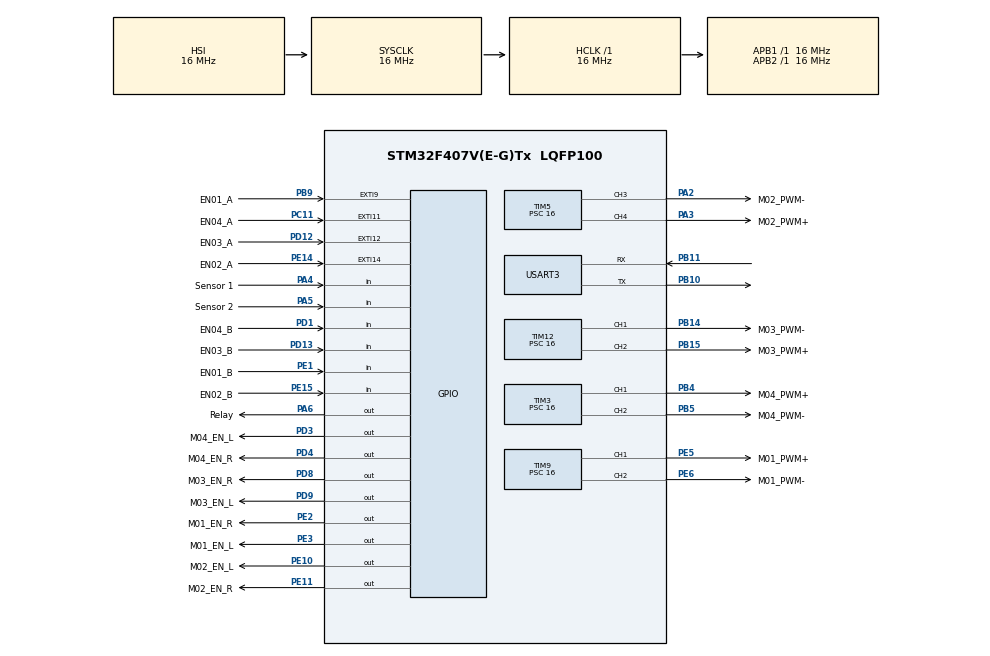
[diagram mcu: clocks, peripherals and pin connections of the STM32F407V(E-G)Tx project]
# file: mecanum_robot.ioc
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Dma.Request0=USART3_RX
Dma.USART3_RX.0.Direction=DMA_PERIPH_TO_MEMORY
Dma.USART3_RX.0.FIFOMode=DMA_FIFOMODE_DISABLE
Dma.USART3_RX.0.Instance=DMA1_Stream1
Dma.USART3_RX.0.MemDataAlignment=DMA_MDATAALIGN_BYTE
Dma.USART3_RX.0.MemInc=DMA_MINC_ENABLE
Dma.USART3_RX.0.Mode=DMA_NORMAL
Dma.USART3_RX.0.PeriphDataAlignment=DMA_PDATAALIGN_BYTE
Dma.USART3_RX.0.PeriphInc=DMA_PINC_DISABLE
Dma.USART3_RX.0.Priority=DMA_PRIORITY_LOW
Mcu.Family=STM32F4
Mcu.Name=STM32F407V(E-G)Tx
Mcu.Package=LQFP100
NVIC.DMA1_Stream1_IRQn=true\:0\:0\:false\:false\:true\:false\:true
NVIC.EXTI15_10_IRQn=true\:2\:0\:true\:false\:true\:true\:true
NVIC.EXTI9_5_IRQn=true\:2\:0\:true\:false\:true\:true\:true
NVIC.PriorityGroup=NVIC_PRIORITYGROUP_4
NVIC.TIM4_IRQn=true\:1\:0\:true\:false\:true\:true\:true
PA2.GPIO_Label=M02_PWM-
PA2.Signal=S_TIM5_CH3
PA3.GPIO_Label=M02_PWM+
PA3.Signal=S_TIM5_CH4
PA4.GPIO_Label=Sensor 1
PA4.Signal=GPIO_Input
PA5.GPIO_Label=Sensor 2
PA5.Signal=GPIO_Input
PA6.GPIO_Label=Relay
PA6.Signal=GPIO_Output
PB10.Mode=Asynchronous
PB10.Signal=USART3_TX
PB11.Mode=Asynchronous
PB11.Signal=USART3_RX
PB14.GPIO_Label=M03_PWM-
PB14.Signal=S_TIM12_CH1
PB15.GPIO_Label=M03_PWM+
PB15.Signal=S_TIM12_CH2
PB4.GPIO_Label=M04_PWM+
PB4.Signal=S_TIM3_CH1
PB5.GPIO_Label=M04_PWM-
PB5.Signal=S_TIM3_CH2
PB9.GPIO_Label=EN01_A
PB9.GPIO_ModeDefaultEXTI=GPIO_MODE_IT_FALLING
PB9.GPIO_PuPd=GPIO_PULLUP
PB9.Signal=GPXTI9
PC11.GPIO_Label=EN04_A
PC11.GPIO_ModeDefaultEXTI=GPIO_MODE_IT_FALLING
PC11.GPIO_PuPd=GPIO_PULLUP
PC11.Signal=GPXTI11
PD1.GPIO_Label=EN04_B
PD1.Signal=GPIO_Input
PD12.GPIO_Label=EN03_A
PD12.GPIO_ModeDefaultEXTI=GPIO_MODE_IT_FALLING
PD12.GPIO_PuPd=GPIO_PULLUP
PD12.Signal=GPXTI12
PD13.GPIO_Label=EN03_B
PD13.Signal=GPIO_Input
PD3.GPIO_Label=M04_EN_L
PD3.PinState=GPIO_PIN_SET
PD3.Signal=GPIO_Output
PD4.GPIO_Label=M04_EN_R
PD4.PinState=GPIO_PIN_SET
PD4.Signal=GPIO_Output
PD8.GPIO_Label=M03_EN_R
PD8.PinState=GPIO_PIN_SET
PD8.Signal=GPIO_Output
PD9.GPIO_Label=M03_EN_L
PD9.PinState=GPIO_PIN_SET
PD9.Signal=GPIO_Output
PE1.GPIO_Label=EN01_B
PE1.Signal=GPIO_Input
PE10.GPIO_Label=M02_EN_L
PE10.PinState=GPIO_PIN_SET
PE10.Signal=GPIO_Output
PE11.GPIO_Label=M02_EN_R
PE11.PinState=GPIO_PIN_SET
PE11.Signal=GPIO_Output
PE14.GPIO_Label=EN02_A
PE14.GPIO_ModeDefaultEXTI=GPIO_MODE_IT_FALLING
PE14.GPIO_PuPd=GPIO_PULLUP
PE14.Signal=GPXTI14
PE15.GPIO_Label=EN02_B
PE15.Signal=GPIO_Input
PE2.GPIO_Label=M01_EN_R
PE2.PinState=GPIO_PIN_SET
PE2.Signal=GPIO_Output
PE3.GPIO_Label=M01_EN_L
PE3.PinState=GPIO_PIN_SET
PE3.Signal=GPIO_Output
PE5.GPIO_Label=M01_PWM+
PE5.Signal=S_TIM9_CH1
PE6.GPIO_Label=M01_PWM-
PE6.Signal=S_TIM9_CH2
PH0-OSC_IN.Mode=HSE-External-Oscillator
PH0-OSC_IN.Signal=RCC_OSC_IN
PH1-OSC_OUT.Mode=HSE-External-Oscillator
PH1-OSC_OUT.Signal=RCC_OSC_OUT
ProjectManager.HeapSize=0x200
ProjectManager.StackSize=0x400
ProjectManager.TargetToolchain=MDK-ARM V5.27
RCC.AHBFreq_Value=16000000
RCC.APB1Freq_Value=16000000
RCC.APB2Freq_Value=16000000
RCC.CortexFreq_Value=16000000
RCC.HSE_VALUE=25000000
RCC.HSI_VALUE=16000000
RCC.LSE_VALUE=32768
RCC.SYSCLKFreq_VALUE=16000000
RCC.VCOOutputFreq_Value=192000000
SH.S_TIM12_CH1.0=TIM12_CH1,PWM Generation1 CH1
SH.S_TIM12_CH2.0=TIM12_CH2,PWM Generation2 CH2
SH.S_TIM3_CH1.0=TIM3_CH1,PWM Generation1 CH1
SH.S_TIM3_CH2.0=TIM3_CH2,PWM Generation2 CH2
SH.S_TIM5_CH3.0=TIM5_CH3,PWM Generation3 CH3
SH.S_TIM5_CH4.0=TIM5_CH4,PWM Generation4 CH4
SH.S_TIM9_CH1.0=TIM9_CH1,PWM Generation1 CH1
SH.S_TIM9_CH2.0=TIM9_CH2,PWM Generation2 CH2
TIM12.Channel-PWM\ Generation1\ CH1=TIM_CHANNEL_1
TIM12.Channel-PWM\ Generation2\ CH2=TIM_CHANNEL_2
TIM12.Period=999
TIM12.Prescaler=16
TIM3.Channel-PWM\ Generation1\ CH1=TIM_CHANNEL_1
TIM3.Channel-PWM\ Generation2\ CH2=TIM_CHANNEL_2
TIM3.Period=999
TIM3.Prescaler=16
TIM4.Period=99
TIM4.Prescaler=16000
TIM5.Channel-PWM\ Generation3\ CH3=TIM_CHANNEL_3
TIM5.Channel-PWM\ Generation4\ CH4=TIM_CHANNEL_4
TIM5.Period=999
TIM5.Prescaler=16
TIM9.Channel-PWM\ Generation1\ CH1=TIM_CHANNEL_1
TIM9.Channel-PWM\ Generation2\ CH2=TIM_CHANNEL_2
TIM9.Period=999
TIM9.Prescaler=16
USART3.VirtualMode=VM_ASYNC
VP_TIM12_VS_ClockSourceINT.Mode=Internal
VP_TIM3_VS_ClockSourceINT.Mode=Internal
VP_TIM4_VS_ClockSourceINT.Mode=Internal
VP_TIM5_VS_ClockSourceINT.Mode=Internal
VP_TIM9_VS_ClockSourceINT.Mode=Internal
board=custom

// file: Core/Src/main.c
/* USER CODE BEGIN Header */
/**
  ******************************************************************************
  * @file           : main.c
  * @brief          : Main program body
  ******************************************************************************
  * @attention
  *
  * <h2><center>&copy; Copyright (c) 2022 STMicroelectronics.
  * All rights reserved.</center></h2>
  *
  * This software component is licensed by ST under BSD 3-Clause license,
  * the "License"; You may not use this file except in compliance with the
  * License. You may obtain a copy of the License at:
  *                        opensource.org/licenses/BSD-3-Clause
  *
  ******************************************************************************
  */
/* USER CODE END Header */
#include "main.h"

/* USER CODE BEGIN Includes */
#include "stdio.h"
#include "stdlib.h"
#include "string.h"
#include "math.h"
/* USER CODE END Includes */

TIM_HandleTypeDef htim3;
TIM_HandleTypeDef htim4;
TIM_HandleTypeDef htim5;
TIM_HandleTypeDef htim9;
TIM_HandleTypeDef htim12;

UART_HandleTypeDef huart3;
DMA_HandleTypeDef hdma_usart3_rx;

/* USER CODE BEGIN PV */
uint8_t rx_data;
int rx_index = 0;
char rx_buffer[20];
char temp[20];
int check_var = 0;
//encoder variable
int pulse_counter1 = 0, pulse_counter2 = 0, pulse_counter3 = 0, pulse_counter4 = 0;

//velocity variable
float M_PI = 3.14;
float vx = 0, vy = 0, w_angle = 0;
float w_reference1_temp = 0, w_reference2_temp = 0, w_reference3_temp = 0, w_reference4_temp = 0; // v?n t?c b�nh xe (rad/s)
float w_reference1 = 0, w_reference2 = 0, w_reference3 = 0, w_reference4 = 0; // v?n t?c b�nh xe (rpm)
float w1 = 0, w2 = 0, w3 = 0, w4 = 0; // v?n t?c th?c t? c?a b�nh xe (rpm)
float e1 = 0, e2 = 0, e3 = 0, e4 = 0;
float pre_e1 = 0, pre_e2 = 0, pre_e3 = 0, pre_e4 = 0;
float const max_pwm = 1000;

//robot variable
float const r_wheel = 0.048;
float lx = 0.21919; // khoang cach tu tam banh xe den tam robot theo phuong x
float ly = 0.21647; // khoang cach tu banh xe den tam robot theo phuong y

//PID parameters
float kP = 1.2, kI = 0.08, kD = 0.002;
float pPart1 = 0, pPart2 = 0, pPart3 = 0, pPart4 = 0;
float iPart1 = 0, iPart2 = 0, iPart3 = 0, iPart4 = 0;
float dPart1 = 0, dPart2 = 0, dPart3 = 0, dPart4 = 0;
float PID_signal1 = 0, PID_signal2 = 0, PID_signal3 = 0, PID_signal4 = 0;
float signal_pos1 = 0, signal_neg1 = 0;
float signal_pos2 = 0, signal_neg2 = 0;
float signal_pos3 = 0, signal_neg3 = 0;
float signal_pos4 = 0, signal_neg4 = 0;

// Posion calcalate
float w1_rad = 0, w2_rad = 0, w3_rad = 0, w4_rad = 0;
float v_wheel1 = 0, v_wheel2 = 0, v_wheel3 = 0, v_wheel4 = 0;

// Sensor parameters
unsigned int flag = 0;
unsigned int Sensor1;
unsigned int Sensor2;

/* USER CODE END PV */

void SystemClock_Config(void);
static void MX_GPIO_Init(void);
static void MX_DMA_Init(void);
static void MX_TIM3_Init(void);
static void MX_TIM5_Init(void);
static void MX_TIM9_Init(void);
static void MX_TIM12_Init(void);
static void MX_USART3_UART_Init(void);
static void MX_TIM4_Init(void);

/* USER CODE BEGIN 0 */
void Init_Motor1()
{

	////Enable H-bridge
	HAL_GPIO_WritePin(GPIOE, GPIO_PIN_2, 1);			//bridge1 EN_R
	HAL_GPIO_WritePin(GPIOE, GPIO_PIN_3, 1);			//bridge1 EN_L
	////Start PWM
	//PWM Motor 1
	HAL_TIM_PWM_Start(&htim9, TIM_CHANNEL_1);			//Motor1 +
	HAL_TIM_PWM_Start(&htim9, TIM_CHANNEL_2);			//Motor1 -

	__HAL_TIM_SetCompare(&htim9, TIM_CHANNEL_1, 0);
	__HAL_TIM_SetCompare(&htim9, TIM_CHANNEL_2, 0);
}

void Init_Motor2()
{
	////Enable H-bridge
	HAL_GPIO_WritePin(GPIOE, GPIO_PIN_11, 1);			//bridge1 EN_R
	HAL_GPIO_WritePin(GPIOE, GPIO_PIN_10, 1);			//bridge1 EN_L
	////Start PWM
	//PWM Motor 2
	HAL_TIM_PWM_Start(&htim5, TIM_CHANNEL_3);			//Motor2 +
	HAL_TIM_PWM_Start(&htim5, TIM_CHANNEL_4);			//Motor2 -

	__HAL_TIM_SetCompare(&htim5,TIM_CHANNEL_3, 0);
	__HAL_TIM_SetCompare(&htim5,TIM_CHANNEL_4, 0);

}

void Init_Motor3()
{
	////Enable H-bridge
	HAL_GPIO_WritePin(GPIOD, GPIO_PIN_8, 1);			//bridge1 EN_R
	HAL_GPIO_WritePin(GPIOD, GPIO_PIN_9, 1);			//bridge1 EN_L
	////Start PWM
	//PWM Motor 3
	HAL_TIM_PWM_Start(&htim12, TIM_CHANNEL_1);		//Motor3 +
	HAL_TIM_PWM_Start(&htim12, TIM_CHANNEL_2);		//Motor3 -

	__HAL_TIM_SetCompare(&htim12,TIM_CHANNEL_1, 0);
	__HAL_TIM_SetCompare(&htim12,TIM_CHANNEL_2, 0);
}

void Init_Motor4()
{
	////Enable H-bridge
	HAL_GPIO_WritePin(GPIOB, GPIO_PIN_3, 1);			//bridge1 EN_R
	HAL_GPIO_WritePin(GPIOG, GPIO_PIN_15, 1);			//bridge1 EN_L
	////Start PWM
	//PWM Motor 4
	HAL_TIM_PWM_Start(&htim3, TIM_CHANNEL_1);			//Motor4 +
	HAL_TIM_PWM_Start(&htim3, TIM_CHANNEL_2);			//Motor4 -

	__HAL_TIM_SetCompare(&htim3,TIM_CHANNEL_1, 0);
	__HAL_TIM_SetCompare(&htim3,TIM_CHANNEL_2, 0);
}

void check_w_ref()
{
	sprintf(temp, "vx_ref = %.2f\n", vx);
	HAL_UART_Transmit(&huart3, (uint8_t *)temp, strlen(temp),10);
	HAL_Delay(100);
	sprintf(temp, "vy_ref = %.2f\n", vy);
	HAL_UART_Transmit(&huart3, (uint8_t *)temp, strlen(temp),10);
	HAL_Delay(100);
	sprintf(temp, "w_ref = %.2f\n", w_angle);
	HAL_UART_Transmit(&huart3, (uint8_t *)temp, strlen(temp),10);
	HAL_Delay(100);
	HAL_Delay(2000);

	// sprintf(temp, "w1_temp = %.2f, w1_ref = %.2f\n", w_reference1_temp ,w_reference1);
	// HAL_UART_Transmit_DMA(&huart3, (uint8_t *)temp, strlen(temp));
	// HAL_Delay(100);
	// sprintf(temp, "w2_temp = %.2f, w2_ref = %.2f\n", w_reference2_temp ,w_reference2);
	// HAL_UART_Transmit_DMA(&huart3, (uint8_t *)temp, strlen(temp));
	// HAL_Delay(100);
	// sprintf(temp, "w3_temp = %.2f, w3_ref = %.2f\n", w_reference3_temp ,w_reference3);
	// HAL_UART_Transmit_DMA(&huart3, (uint8_t *)temp, strlen(temp));
	// HAL_Delay(100);
	// sprintf(temp, "w4_temp = %.2f, w4_ref = %.2f\n", w_reference4_temp ,w_reference4);
	// HAL_UART_Transmit_DMA(&huart3, (uint8_t *)temp, strlen(temp));
	// HAL_Delay(100);
	// HAL_Delay(2000);
}

// void signal_feedback_PID_parameter()
// {
// 	sprintf(temp, "P%.2fp\n", kP);
// 	HAL_UART_Transmit(&huart3, (uint8_t *)temp, strlen(temp), 10);
// 	HAL_Delay(100);
// 	sprintf(temp, "I%.2fi\n", kI);
// 	HAL_UART_Transmit(&huart3, (uint8_t *)temp, strlen(temp), 10);
// 	HAL_Delay(100);
// 	sprintf(temp, "D%.2fd\n", kD);
// 	HAL_UART_Transmit(&huart3, (uint8_t *)temp, strlen(temp), 10);
// 	HAL_Delay(2000);
// }

// void signal_feedback_w_wheel()
// {
// 	sprintf(temp, "w1 = %.2f rpm r\n", w1);
// 	HAL_UART_Transmit_DMA(&huart3, (uint8_t *)temp, strlen(temp), 10);
// 	HAL_Delay(100);
// 	sprintf(temp, "w2 = %.2f rpm r\n", w2);
// 	HAL_UART_Transmit_DMA(&huart3, (uint8_t *)temp, strlen(temp), 10);
// 	HAL_Delay(100);
// 	sprintf(temp, "w3 = %.2f rpm r\n", w3);
// 	HAL_UART_Transmit_DMA(&huart3, (uint8_t *)temp, strlen(temp), 10);
// 	HAL_Delay(100);
// 	sprintf(temp, "w4 = %.2f rpm r\n", w4);
// 	HAL_UART_Transmit_DMA(&huart3, (uint8_t *)temp, strlen(temp), 10);
// 	HAL_Delay(2000);
// }

// void signal_feedback_error()
// {
// 	sprintf(temp, "e1 = %.2f rpm r\n", e1);
// 	HAL_UART_Transmit(&huart3, (uint8_t *)temp, strlen(temp), 10);
// 	HAL_Delay(100);
// 	sprintf(temp, "e2 = %.2f rpm r\n", e2);
// 	HAL_UART_Transmit(&huart3, (uint8_t *)temp, strlen(temp), 10);
// 	HAL_Delay(100);
// 	sprintf(temp, "e3 = %.2f rpm r\n", e3);
// 	HAL_UART_Transmit(&huart3, (uint8_t *)temp, strlen(temp), 10);
// 	HAL_Delay(100);
// 	sprintf(temp, "e4 = %.2f rpm r\n", e4);
// 	HAL_UART_Transmit(&huart3, (uint8_t *)temp, strlen(temp), 10);
// 	HAL_Delay(2000);
// }

// void position_feedback()
// {
// }

void sensorCheck()
{
		Sensor1 = HAL_GPIO_ReadPin(Sensor_1_GPIO_Port, Sensor1);
		Sensor2 = HAL_GPIO_ReadPin(Sensor_2_GPIO_Port, Sensor2);
    if ((Sensor1 == 1 && Sensor2 == 0))
    {
      flag =1;

    }
		else if((Sensor1 == 0 && Sensor2 == 1) ){

			flag = 0;

		}
    if (flag == 1)
    {
      HAL_GPIO_WritePin(Relay_GPIO_Port, Relay_Pin, 1);

    }
    else
    {

      HAL_GPIO_WritePin(Relay_GPIO_Port, Relay_Pin, 0);
    }
}

/* USER CODE END 0 */

int main(void)
{

  /* MCU Configuration--------------------------------------------------------*/

  /* Reset of all peripherals, Initializes the Flash interface and the Systick. */
  HAL_Init();

  /* Configure the system clock */
  SystemClock_Config();

  /* Initialize all configured peripherals */
  MX_GPIO_Init();
  MX_DMA_Init();
  MX_TIM3_Init();
  MX_TIM5_Init();
  MX_TIM9_Init();
  MX_TIM12_Init();
  MX_USART3_UART_Init();
  MX_TIM4_Init();
  /* USER CODE BEGIN 2 */
  HAL_TIM_Base_Start_IT(&htim4);
  ////Start UART Receive interupt
	HAL_UART_Receive_DMA(&huart3, &rx_data, 1);

  Init_Motor1();
  Init_Motor2();
  Init_Motor3();
  Init_Motor4();
  /* USER CODE END 2 */

  /* Infinite loop */
  /* USER CODE BEGIN WHILE */
	check_var = 0;
  while (1)
  {
    /* USER CODE END WHILE */

    /* USER CODE BEGIN 3 */
	sensorCheck();
  if(check_var == 0)
	  {
		  check_w_ref();
	  }
	//   if(check_var == 1)
	//   {
	// 	  signal_feedback_w_wheel();
	//   }
	//   if(check_var == 2)
	//   {
	// 	  signal_feedback_error();
	//   }
	//   if(check_var == 3)
	//   {
	// 	  signal_feedback_PID_parameter();
	//   }
	//   if(check_var == 4)
	//   {
	// 	  position_feedback();
	//   }
	}
  /* USER CODE END 3 */
}

void SystemClock_Config(void)
{
  RCC_OscInitTypeDef RCC_OscInitStruct = {0};
  RCC_ClkInitTypeDef RCC_ClkInitStruct = {0};

  /** Configure the main internal regulator output voltage
  */
  __HAL_RCC_PWR_CLK_ENABLE();
  __HAL_PWR_VOLTAGESCALING_CONFIG(PWR_REGULATOR_VOLTAGE_SCALE1);
  /** Initializes the RCC Oscillators according to the specified parameters
  * in the RCC_OscInitTypeDef structure.
  */
  RCC_OscInitStruct.OscillatorType = RCC_OSCILLATORTYPE_HSI;
  RCC_OscInitStruct.HSIState = RCC_HSI_ON;
  RCC_OscInitStruct.HSICalibrationValue = RCC_HSICALIBRATION_DEFAULT;
  RCC_OscInitStruct.PLL.PLLState = RCC_PLL_NONE;
  if (HAL_RCC_OscConfig(&RCC_OscInitStruct) != HAL_OK)
  {
    Error_Handler();
  }
  /** Initializes the CPU, AHB and APB buses clocks
  */
  RCC_ClkInitStruct.ClockType = RCC_CLOCKTYPE_HCLK|RCC_CLOCKTYPE_SYSCLK
                              |RCC_CLOCKTYPE_PCLK1|RCC_CLOCKTYPE_PCLK2;
  RCC_ClkInitStruct.SYSCLKSource = RCC_SYSCLKSOURCE_HSI;
  RCC_ClkInitStruct.AHBCLKDivider = RCC_SYSCLK_DIV1;
  RCC_ClkInitStruct.APB1CLKDivider = RCC_HCLK_DIV1;
  RCC_ClkInitStruct.APB2CLKDivider = RCC_HCLK_DIV1;

  if (HAL_RCC_ClockConfig(&RCC_ClkInitStruct, FLASH_LATENCY_0) != HAL_OK)
  {
    Error_Handler();
  }
}

static void MX_TIM3_Init(void)
{

  TIM_ClockConfigTypeDef sClockSourceConfig = {0};
  TIM_MasterConfigTypeDef sMasterConfig = {0};
  TIM_OC_InitTypeDef sConfigOC = {0};

  htim3.Instance = TIM3;
  htim3.Init.Prescaler = 16;
  htim3.Init.CounterMode = TIM_COUNTERMODE_UP;
  htim3.Init.Period = 999;
  htim3.Init.ClockDivision = TIM_CLOCKDIVISION_DIV1;
  htim3.Init.AutoReloadPreload = TIM_AUTORELOAD_PRELOAD_DISABLE;
  if (HAL_TIM_Base_Init(&htim3) != HAL_OK)
  {
    Error_Handler();
  }
  sClockSourceConfig.ClockSource = TIM_CLOCKSOURCE_INTERNAL;
  if (HAL_TIM_ConfigClockSource(&htim3, &sClockSourceConfig) != HAL_OK)
  {
    Error_Handler();
  }
  if (HAL_TIM_PWM_Init(&htim3) != HAL_OK)
  {
    Error_Handler();
  }
  sMasterConfig.MasterOutputTrigger = TIM_TRGO_RESET;
  sMasterConfig.MasterSlaveMode = TIM_MASTERSLAVEMODE_DISABLE;
  if (HAL_TIMEx_MasterConfigSynchronization(&htim3, &sMasterConfig) != HAL_OK)
  {
    Error_Handler();
  }
  sConfigOC.OCMode = TIM_OCMODE_PWM1;
  sConfigOC.Pulse = 0;
  sConfigOC.OCPolarity = TIM_OCPOLARITY_HIGH;
  sConfigOC.OCFastMode = TIM_OCFAST_DISABLE;
  if (HAL_TIM_PWM_ConfigChannel(&htim3, &sConfigOC, TIM_CHANNEL_1) != HAL_OK)
  {
    Error_Handler();
  }
  if (HAL_TIM_PWM_ConfigChannel(&htim3, &sConfigOC, TIM_CHANNEL_2) != HAL_OK)
  {
    Error_Handler();
  }
  HAL_TIM_MspPostInit(&htim3);

}

static void MX_TIM4_Init(void)
{

  TIM_ClockConfigTypeDef sClockSourceConfig = {0};
  TIM_MasterConfigTypeDef sMasterConfig = {0};

  htim4.Instance = TIM4;
  htim4.Init.Prescaler = 16000;
  htim4.Init.CounterMode = TIM_COUNTERMODE_UP;
  htim4.Init.Period = 99;
  htim4.Init.ClockDivision = TIM_CLOCKDIVISION_DIV1;
  htim4.Init.AutoReloadPreload = TIM_AUTORELOAD_PRELOAD_DISABLE;
  if (HAL_TIM_Base_Init(&htim4) != HAL_OK)
  {
    Error_Handler();
  }
  sClockSourceConfig.ClockSource = TIM_CLOCKSOURCE_INTERNAL;
  if (HAL_TIM_ConfigClockSource(&htim4, &sClockSourceConfig) != HAL_OK)
  {
    Error_Handler();
  }
  sMasterConfig.MasterOutputTrigger = TIM_TRGO_RESET;
  sMasterConfig.MasterSlaveMode = TIM_MASTERSLAVEMODE_DISABLE;
  if (HAL_TIMEx_MasterConfigSynchronization(&htim4, &sMasterConfig) != HAL_OK)
  {
    Error_Handler();
  }

}

static void MX_TIM5_Init(void)
{

  TIM_ClockConfigTypeDef sClockSourceConfig = {0};
  TIM_MasterConfigTypeDef sMasterConfig = {0};
  TIM_OC_InitTypeDef sConfigOC = {0};

  htim5.Instance = TIM5;
  htim5.Init.Prescaler = 16;
  htim5.Init.CounterMode = TIM_COUNTERMODE_UP;
  htim5.Init.Period = 999;
  htim5.Init.ClockDivision = TIM_CLOCKDIVISION_DIV1;
  htim5.Init.AutoReloadPreload = TIM_AUTORELOAD_PRELOAD_DISABLE;
  if (HAL_TIM_Base_Init(&htim5) != HAL_OK)
  {
    Error_Handler();
  }
  sClockSourceConfig.ClockSource = TIM_CLOCKSOURCE_INTERNAL;
  if (HAL_TIM_ConfigClockSource(&htim5, &sClockSourceConfig) != HAL_OK)
  {
    Error_Handler();
  }
  if (HAL_TIM_PWM_Init(&htim5) != HAL_OK)
  {
    Error_Handler();
  }
  sMasterConfig.MasterOutputTrigger = TIM_TRGO_RESET;
  sMasterConfig.MasterSlaveMode = TIM_MASTERSLAVEMODE_DISABLE;
  if (HAL_TIMEx_MasterConfigSynchronization(&htim5, &sMasterConfig) != HAL_OK)
  {
    Error_Handler();
  }
  sConfigOC.OCMode = TIM_OCMODE_PWM1;
  sConfigOC.Pulse = 0;
  sConfigOC.OCPolarity = TIM_OCPOLARITY_HIGH;
  sConfigOC.OCFastMode = TIM_OCFAST_DISABLE;
  if (HAL_TIM_PWM_ConfigChannel(&htim5, &sConfigOC, TIM_CHANNEL_3) != HAL_OK)
  {
    Error_Handler();
  }
  if (HAL_TIM_PWM_ConfigChannel(&htim5, &sConfigOC, TIM_CHANNEL_4) != HAL_OK)
  {
    Error_Handler();
  }
  HAL_TIM_MspPostInit(&htim5);

}

static void MX_TIM9_Init(void)
{

  TIM_ClockConfigTypeDef sClockSourceConfig = {0};
  TIM_OC_InitTypeDef sConfigOC = {0};

  htim9.Instance = TIM9;
  htim9.Init.Prescaler = 16;
  htim9.Init.CounterMode = TIM_COUNTERMODE_UP;
  htim9.Init.Period = 999;
  htim9.Init.ClockDivision = TIM_CLOCKDIVISION_DIV1;
  htim9.Init.AutoReloadPreload = TIM_AUTORELOAD_PRELOAD_DISABLE;
  if (HAL_TIM_Base_Init(&htim9) != HAL_OK)
  {
    Error_Handler();
  }
  sClockSourceConfig.ClockSource = TIM_CLOCKSOURCE_INTERNAL;
  if (HAL_TIM_ConfigClockSource(&htim9, &sClockSourceConfig) != HAL_OK)
  {
    Error_Handler();
  }
  if (HAL_TIM_PWM_Init(&htim9) != HAL_OK)
  {
    Error_Handler();
  }
  sConfigOC.OCMode = TIM_OCMODE_PWM1;
  sConfigOC.Pulse = 0;
  sConfigOC.OCPolarity = TIM_OCPOLARITY_HIGH;
  sConfigOC.OCFastMode = TIM_OCFAST_DISABLE;
  if (HAL_TIM_PWM_ConfigChannel(&htim9, &sConfigOC, TIM_CHANNEL_1) != HAL_OK)
  {
    Error_Handler();
  }
  if (HAL_TIM_PWM_ConfigChannel(&htim9, &sConfigOC, TIM_CHANNEL_2) != HAL_OK)
  {
    Error_Handler();
  }
  HAL_TIM_MspPostInit(&htim9);

}

static void MX_TIM12_Init(void)
{

  TIM_ClockConfigTypeDef sClockSourceConfig = {0};
  TIM_OC_InitTypeDef sConfigOC = {0};

  htim12.Instance = TIM12;
  htim12.Init.Prescaler = 16;
  htim12.Init.CounterMode = TIM_COUNTERMODE_UP;
  htim12.Init.Period = 999;
  htim12.Init.ClockDivision = TIM_CLOCKDIVISION_DIV1;
  htim12.Init.AutoReloadPreload = TIM_AUTORELOAD_PRELOAD_DISABLE;
  if (HAL_TIM_Base_Init(&htim12) != HAL_OK)
  {
    Error_Handler();
  }
  sClockSourceConfig.ClockSource = TIM_CLOCKSOURCE_INTERNAL;
  if (HAL_TIM_ConfigClockSource(&htim12, &sClockSourceConfig) != HAL_OK)
  {
    Error_Handler();
  }
  if (HAL_TIM_PWM_Init(&htim12) != HAL_OK)
  {
    Error_Handler();
  }
  sConfigOC.OCMode = TIM_OCMODE_PWM1;
  sConfigOC.Pulse = 0;
  sConfigOC.OCPolarity = TIM_OCPOLARITY_HIGH;
  sConfigOC.OCFastMode = TIM_OCFAST_DISABLE;
  if (HAL_TIM_PWM_ConfigChannel(&htim12, &sConfigOC, TIM_CHANNEL_1) != HAL_OK)
  {
    Error_Handler();
  }
  if (HAL_TIM_PWM_ConfigChannel(&htim12, &sConfigOC, TIM_CHANNEL_2) != HAL_OK)
  {
    Error_Handler();
  }
  HAL_TIM_MspPostInit(&htim12);

}

static void MX_USART3_UART_Init(void)
{

  huart3.Instance = USART3;
  huart3.Init.BaudRate = 115200;
  huart3.Init.WordLength = UART_WORDLENGTH_8B;
  huart3.Init.StopBits = UART_STOPBITS_1;
  huart3.Init.Parity = UART_PARITY_NONE;
  huart3.Init.Mode = UART_MODE_TX_RX;
  huart3.Init.HwFlowCtl = UART_HWCONTROL_NONE;
  huart3.Init.OverSampling = UART_OVERSAMPLING_16;
  if (HAL_UART_Init(&huart3) != HAL_OK)
  {
    Error_Handler();
  }

}

static void MX_DMA_Init(void)
{

  /* DMA controller clock enable */
  __HAL_RCC_DMA1_CLK_ENABLE();

  /* DMA interrupt init */
  /* DMA1_Stream1_IRQn interrupt configuration */
  HAL_NVIC_SetPriority(DMA1_Stream1_IRQn, 0, 0);
  HAL_NVIC_EnableIRQ(DMA1_Stream1_IRQn);

}

static void MX_GPIO_Init(void)
{
  GPIO_InitTypeDef GPIO_InitStruct = {0};

  /* GPIO Ports Clock Enable */
  __HAL_RCC_GPIOE_CLK_ENABLE();
  __HAL_RCC_GPIOH_CLK_ENABLE();
  __HAL_RCC_GPIOA_CLK_ENABLE();
  __HAL_RCC_GPIOB_CLK_ENABLE();
  __HAL_RCC_GPIOD_CLK_ENABLE();
  __HAL_RCC_GPIOC_CLK_ENABLE();

  /*Configure GPIO pin Output Level */
  HAL_GPIO_WritePin(GPIOE, M01_EN_R_Pin|M01_EN_L_Pin|M02_EN_L_Pin|M02_EN_R_Pin, GPIO_PIN_SET);

  /*Configure GPIO pin Output Level */
  HAL_GPIO_WritePin(Relay_GPIO_Port, Relay_Pin, GPIO_PIN_RESET);

  /*Configure GPIO pin Output Level */
  HAL_GPIO_WritePin(GPIOD, M03_EN_R_Pin|M03_EN_L_Pin|M04_EN_L_Pin|M04_EN_R_Pin, GPIO_PIN_SET);

  /*Configure GPIO pins : M01_EN_R_Pin M01_EN_L_Pin M02_EN_L_Pin M02_EN_R_Pin */
  GPIO_InitStruct.Pin = M01_EN_R_Pin|M01_EN_L_Pin|M02_EN_L_Pin|M02_EN_R_Pin;
  GPIO_InitStruct.Mode = GPIO_MODE_OUTPUT_PP;
  GPIO_InitStruct.Pull = GPIO_NOPULL;
  GPIO_InitStruct.Speed = GPIO_SPEED_FREQ_LOW;
  HAL_GPIO_Init(GPIOE, &GPIO_InitStruct);

  /*Configure GPIO pins : Sensor_1_Pin Sensor_2_Pin */
  GPIO_InitStruct.Pin = Sensor_1_Pin|Sensor_2_Pin;
  GPIO_InitStruct.Mode = GPIO_MODE_INPUT;
  GPIO_InitStruct.Pull = GPIO_NOPULL;
  HAL_GPIO_Init(GPIOA, &GPIO_InitStruct);

  /*Configure GPIO pin : Relay_Pin */
  GPIO_InitStruct.Pin = Relay_Pin;
  GPIO_InitStruct.Mode = GPIO_MODE_OUTPUT_PP;
  GPIO_InitStruct.Pull = GPIO_NOPULL;
  GPIO_InitStruct.Speed = GPIO_SPEED_FREQ_LOW;
  HAL_GPIO_Init(Relay_GPIO_Port, &GPIO_InitStruct);

  /*Configure GPIO pin : EN02_A_Pin */
  GPIO_InitStruct.Pin = EN02_A_Pin;
  GPIO_InitStruct.Mode = GPIO_MODE_IT_FALLING;
  GPIO_InitStruct.Pull = GPIO_PULLUP;
  HAL_GPIO_Init(EN02_A_GPIO_Port, &GPIO_InitStruct);

  /*Configure GPIO pins : EN02_B_Pin EN01_B_Pin */
  GPIO_InitStruct.Pin = EN02_B_Pin|EN01_B_Pin;
  GPIO_InitStruct.Mode = GPIO_MODE_INPUT;
  GPIO_InitStruct.Pull = GPIO_NOPULL;
  HAL_GPIO_Init(GPIOE, &GPIO_InitStruct);

  /*Configure GPIO pins : M03_EN_R_Pin M03_EN_L_Pin M04_EN_L_Pin M04_EN_R_Pin */
  GPIO_InitStruct.Pin = M03_EN_R_Pin|M03_EN_L_Pin|M04_EN_L_Pin|M04_EN_R_Pin;
  GPIO_InitStruct.Mode = GPIO_MODE_OUTPUT_PP;
  GPIO_InitStruct.Pull = GPIO_NOPULL;
  GPIO_InitStruct.Speed = GPIO_SPEED_FREQ_LOW;
  HAL_GPIO_Init(GPIOD, &GPIO_InitStruct);

  /*Configure GPIO pin : EN03_A_Pin */
  GPIO_InitStruct.Pin = EN03_A_Pin;
  GPIO_InitStruct.Mode = GPIO_MODE_IT_FALLING;
  GPIO_InitStruct.Pull = GPIO_PULLUP;
  HAL_GPIO_Init(EN03_A_GPIO_Port, &GPIO_InitStruct);

  /*Configure GPIO pins : EN03_B_Pin EN04_B_Pin */
  GPIO_InitStruct.Pin = EN03_B_Pin|EN04_B_Pin;
  GPIO_InitStruct.Mode = GPIO_MODE_INPUT;
  GPIO_InitStruct.Pull = GPIO_NOPULL;
  HAL_GPIO_Init(GPIOD, &GPIO_InitStruct);

  /*Configure GPIO pin : EN04_A_Pin */
  GPIO_InitStruct.Pin = EN04_A_Pin;
  GPIO_InitStruct.Mode = GPIO_MODE_IT_FALLING;
  GPIO_InitStruct.Pull = GPIO_PULLUP;
  HAL_GPIO_Init(EN04_A_GPIO_Port, &GPIO_InitStruct);

  /*Configure GPIO pin : EN01_A_Pin */
  GPIO_InitStruct.Pin = EN01_A_Pin;
  GPIO_InitStruct.Mode = GPIO_MODE_IT_FALLING;
  GPIO_InitStruct.Pull = GPIO_PULLUP;
  HAL_GPIO_Init(EN01_A_GPIO_Port, &GPIO_InitStruct);

  /* EXTI interrupt init*/
  HAL_NVIC_SetPriority(EXTI9_5_IRQn, 2, 0);
  HAL_NVIC_EnableIRQ(EXTI9_5_IRQn);

  HAL_NVIC_SetPriority(EXTI15_10_IRQn, 2, 0);
  HAL_NVIC_EnableIRQ(EXTI15_10_IRQn);

}

/* USER CODE BEGIN 4 */
void cal_vel_ref(float vx, float vy, float w_angle)
{
	//calculate ref for each wheel
	w_reference1_temp = (1/r_wheel)*(vx - vy - (lx + ly)*w_angle);		    //(rad/s)
	w_reference2_temp = (1/r_wheel)*(vx + vy + (lx + ly)*w_angle);		//(rad/s)
	w_reference3_temp = (1/r_wheel)*(vx + vy - (lx + ly)*w_angle);		    //(rad/s)
	w_reference4_temp = (1/r_wheel)*(vx - vy + (lx + ly)*w_angle);	    //(rad/s)

	//convert to RPM
	w_reference1 = (w_reference1_temp)*60/(2*M_PI);
	w_reference2 = (w_reference2_temp)*60/(2*M_PI);
	w_reference3 = (w_reference3_temp)*60/(2*M_PI);
	w_reference4 = (w_reference4_temp)*60/(2*M_PI);
}

void PID_controller_wheel1(float w_reference1)
{
	w1 = (float)(pulse_counter1)*2.609;
	pulse_counter1 = 0;
	if(w_reference1 == 0)
	{
		signal_pos1 = 0;
		signal_neg1 = 0;
	}
	else
	{
		e1 = w_reference1 - w1;
		pPart1 = kP*e1;
		iPart1 += kI*e1*0.1;
		dPart1 = kD*(e1 - pre_e1)*10;
		PID_signal1 += pPart1 + iPart1 + dPart1;

		if (PID_signal1 > max_pwm) PID_signal1 = max_pwm;
		if (PID_signal1 < -max_pwm) PID_signal1 = -max_pwm;

		if (PID_signal1 >= 0)
		{	//quay thuan
			signal_pos1 = 0;
			signal_neg1 = PID_signal1;
		}
		else
		{	//quay nguoc
			signal_pos1 = -PID_signal1;
			signal_neg1 = 0;
		}
		pre_e1 = e1;
	}
}
void PID_controller_wheel2(float w_reference2)
{
	w2 = (float)(pulse_counter2)*2.609;
	pulse_counter2 = 0;
	if(w_reference2 == 0)
	{
		signal_pos2 = 0;
		signal_neg2 = 0;
	}
	else
	{
		e2 = w_reference2 - w2;
		pPart2 = kP*e2;
		iPart2 += kI*e2*0.1;
		dPart2 = kD*(e2 - pre_e2)*10;
		PID_signal2 += pPart2 + iPart2 + dPart2;

		if (PID_signal2 > max_pwm) PID_signal2 = max_pwm;
		if (PID_signal2 < -max_pwm) PID_signal2 = -max_pwm;

		if (PID_signal2 >= 0)
		{	//quay thuan
			signal_pos2 = PID_signal2;
			signal_neg2 = 0;
		}
		else
		{	//quay nguoc
			signal_pos2 = 0;
			signal_neg2 = -PID_signal2;
		}
		pre_e2 = e2;
	}
}
void PID_controller_wheel3(float w_reference3)
{
	w3 = (float)(pulse_counter3)*2.609;
	pulse_counter3 = 0;
	if(w_reference3 == 0)
	{
		signal_pos3 = 0;
		signal_neg3 = 0;
	}
	else
	{
		e3 = w_reference3 - w3;
		pPart3 = kP*e3;
		iPart3 += kI*e3*0.1;
		dPart3 = kD*(e3 - pre_e3)*10;
		PID_signal3 += pPart3 + iPart3 + dPart3;

		if (PID_signal3 > max_pwm) PID_signal3 = max_pwm;
		if (PID_signal3 < -max_pwm) PID_signal3 = -max_pwm;

		if (PID_signal3 >= 0)
		{	//quay thuan
			signal_pos3 = 0;
			signal_neg3 = PID_signal3;
		}
		else
		{	//quay nguoc
			signal_pos3 = -PID_signal3;
			signal_neg3 = 0;
		}
		pre_e3 = e3;
	}
}
void PID_controller_wheel4(float w_reference4)
{
	w4 = (float)(pulse_counter4)*2.609;
	pulse_counter4 = 0;
	if(w_reference4 == 0)
	{
		signal_pos4 = 0;
		signal_neg4 = 0;
	}
	else
	{
		e4 = w_reference4 - w4;
		pPart4 = kP*e4;
		iPart4 += kI*e4*0.1;
		dPart4 = kD*(e4 - pre_e4)*10;
		PID_signal4 += pPart4 + iPart4 + dPart4;

		if (PID_signal4 > max_pwm) PID_signal4 = max_pwm;
		if (PID_signal4 < -max_pwm) PID_signal4 = -max_pwm;

		if (PID_signal4 >= 0)
		{	//quay thuan
			signal_pos4 = PID_signal4;
			signal_neg4 = 0;
		}
		else
		{	//quay nguoc
			signal_pos4 = 0;
			signal_neg4 = -PID_signal4;
		}
		pre_e4 = e4;
	}
}

void position_cal()
{
	//read encoder RPM
	w1 = (float)(pulse_counter1)*2.609;
	w2 = (float)(pulse_counter2)*2.609;
	w3 = (float)(pulse_counter3)*2.609;
	w4 = (float)(pulse_counter4)*2.609;
	//convert to radian/s
	w1_rad = (w1)*(2*M_PI)/60;
	w2_rad = (w2)*(2*M_PI)/60;
	w3_rad = (w3)*(2*M_PI)/60;
	w4_rad = (w4)*(2*M_PI)/60;
	//convert to m/s
	v_wheel1 = w1_rad*r_wheel;
	v_wheel2 = w2_rad*r_wheel;
	v_wheel3 = w3_rad*r_wheel;
	v_wheel4 = w4_rad*r_wheel;
}

void HAL_TIM_PeriodElapsedCallback(TIM_HandleTypeDef *htim)
{
	if (htim->Instance == htim4.Instance)
	{
		position_cal();
		cal_vel_ref(vx, vy, w_angle);			//calculate ref for eachwheel
		PID_controller_wheel1(w_reference1);
		PID_controller_wheel2(w_reference2);
		PID_controller_wheel3(w_reference3);
		PID_controller_wheel4(w_reference4);

		__HAL_TIM_SetCompare(&htim9, TIM_CHANNEL_1, signal_pos1);
		__HAL_TIM_SetCompare(&htim9, TIM_CHANNEL_2, signal_neg1);
		__HAL_TIM_SetCompare(&htim5, TIM_CHANNEL_3, signal_pos2);
		__HAL_TIM_SetCompare(&htim5, TIM_CHANNEL_4, signal_neg2);
		__HAL_TIM_SetCompare(&htim12, TIM_CHANNEL_1, signal_pos3);
		__HAL_TIM_SetCompare(&htim12, TIM_CHANNEL_2, signal_neg3);
		__HAL_TIM_SetCompare(&htim3, TIM_CHANNEL_1, signal_pos4);
		__HAL_TIM_SetCompare(&htim3, TIM_CHANNEL_2, signal_neg4);
	}
}
void HAL_GPIO_EXTI_Callback(uint16_t GPIO_Pin)
{
	//Encoder moto1
	if(GPIO_Pin == GPIO_PIN_9)
	{
		if(HAL_GPIO_ReadPin(GPIOE, GPIO_PIN_1) == 0)
		{
			pulse_counter1--;
		}
		else
		{
			pulse_counter1++;
		}
	}
	//Encoder moto2
	if(GPIO_Pin == GPIO_PIN_14)
	{
		if(HAL_GPIO_ReadPin(GPIOE, GPIO_PIN_15) == 0)
		{
			pulse_counter2++;
		}
		else
		{
			pulse_counter2--;
		}
	}
	//Encoder moto3
	if(GPIO_Pin == GPIO_PIN_12)
	{
		if(HAL_GPIO_ReadPin(GPIOD, GPIO_PIN_13) == 0)
		{
			pulse_counter3--;
		}
		else
		{
			pulse_counter3++;
		}
	}
	//Encoder moto4
	if(GPIO_Pin == GPIO_PIN_11)
	{
		if(HAL_GPIO_ReadPin(GPIOD, GPIO_PIN_1) == 0)
		{
			pulse_counter4++;
		}
		else
		{
			pulse_counter4--;
		}
	}
}
void HAL_UART_RxCpltCallback(UART_HandleTypeDef *huart)
{
	if(huart->Instance == huart3.Instance)
	{
		if(rx_index == 0)
		{
			for(int i=0;i<=25;i++)
			{
				rx_buffer[i] = 0;
			}
		}
		rx_buffer[rx_index] = rx_data;
		rx_index++;

		// if(rx_data=='p')
		// {
		// 	kP=atof(rx_buffer);
		// 	rx_index=0;
		// }
		// if(rx_data=='i')
		// {
		// 	kI=atof(rx_buffer);
		// 	rx_index=0;
		// }
		// if(rx_data=='d')
		// {
		// 	kD=atof(rx_buffer);
		// 	rx_index=0;
		// }
		if(rx_data=='x')
		{
			vx=atof(rx_buffer);
			rx_index=0;
		}
		if(rx_data=='y')
		{
			vy=atof(rx_buffer);
			rx_index=0;
		}
		if(rx_data=='w')
		{
			w_angle=atof(rx_buffer);
			rx_index=0;
		}
		// if(rx_data=='e')
		// {
		// 	check_var=atof(rx_buffer);
		// 	rx_index=0;
		// }
		HAL_UART_Receive_DMA(&huart3, &rx_data,1);
	}
}
/* USER CODE END 4 */

void Error_Handler(void)
{
}
